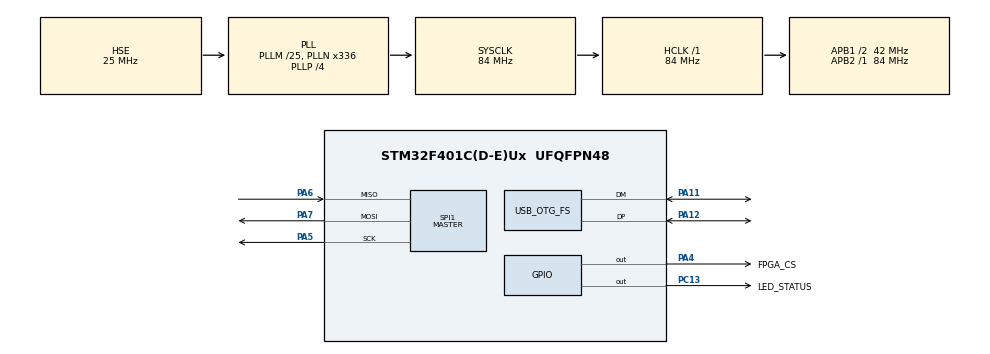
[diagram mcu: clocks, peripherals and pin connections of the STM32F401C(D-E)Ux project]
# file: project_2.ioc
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Dma.Request0=SPI1_RX
Dma.Request1=SPI1_TX
Dma.SPI1_RX.0.Direction=DMA_PERIPH_TO_MEMORY
Dma.SPI1_RX.0.FIFOMode=DMA_FIFOMODE_DISABLE
Dma.SPI1_RX.0.Instance=DMA2_Stream0
Dma.SPI1_RX.0.MemDataAlignment=DMA_MDATAALIGN_BYTE
Dma.SPI1_RX.0.MemInc=DMA_MINC_ENABLE
Dma.SPI1_RX.0.Mode=DMA_NORMAL
Dma.SPI1_RX.0.PeriphDataAlignment=DMA_PDATAALIGN_BYTE
Dma.SPI1_RX.0.PeriphInc=DMA_PINC_DISABLE
Dma.SPI1_RX.0.Priority=DMA_PRIORITY_LOW
Dma.SPI1_TX.1.Direction=DMA_MEMORY_TO_PERIPH
Dma.SPI1_TX.1.FIFOMode=DMA_FIFOMODE_DISABLE
Dma.SPI1_TX.1.Instance=DMA2_Stream3
Dma.SPI1_TX.1.MemDataAlignment=DMA_MDATAALIGN_BYTE
Dma.SPI1_TX.1.MemInc=DMA_MINC_ENABLE
Dma.SPI1_TX.1.Mode=DMA_NORMAL
Dma.SPI1_TX.1.PeriphDataAlignment=DMA_PDATAALIGN_BYTE
Dma.SPI1_TX.1.PeriphInc=DMA_PINC_DISABLE
Dma.SPI1_TX.1.Priority=DMA_PRIORITY_LOW
Mcu.Family=STM32F4
Mcu.Name=STM32F401C(D-E)Ux
Mcu.Package=UFQFPN48
NVIC.DMA2_Stream0_IRQn=true\:0\:0\:false\:false\:true\:false\:true\:true
NVIC.DMA2_Stream3_IRQn=true\:0\:0\:false\:false\:true\:false\:true\:true
NVIC.OTG_FS_IRQn=true\:0\:0\:false\:false\:true\:false\:true\:true
NVIC.PriorityGroup=NVIC_PRIORITYGROUP_4
NVIC.SPI1_IRQn=true\:0\:0\:false\:false\:true\:true\:true\:true
PA11.Mode=Device_Only
PA11.Signal=USB_OTG_FS_DM
PA12.Mode=Device_Only
PA12.Signal=USB_OTG_FS_DP
PA4.GPIO_Label=FPGA_CS  
PA4.Signal=GPIO_Output
PA5.Mode=Full_Duplex_Master
PA5.Signal=SPI1_SCK
PA6.Mode=Full_Duplex_Master
PA6.Signal=SPI1_MISO
PA7.Mode=Full_Duplex_Master
PA7.Signal=SPI1_MOSI
PC13-ANTI_TAMP.GPIO_Label=LED_STATUS
PC13-ANTI_TAMP.PinState=GPIO_PIN_SET
PC13-ANTI_TAMP.Signal=GPIO_Output
PH0\ -\ OSC_IN.Mode=HSE-External-Oscillator
PH0\ -\ OSC_IN.Signal=RCC_OSC_IN
PH1\ -\ OSC_OUT.Mode=HSE-External-Oscillator
PH1\ -\ OSC_OUT.Signal=RCC_OSC_OUT
ProjectManager.HeapSize=0x200
ProjectManager.StackSize=0x400
ProjectManager.TargetToolchain=STM32CubeIDE
RCC.48MHZClocksFreq_Value=48000000
RCC.AHBFreq_Value=84000000
RCC.APB1CLKDivider=RCC_HCLK_DIV2
RCC.APB1Freq_Value=42000000
RCC.APB1TimFreq_Value=84000000
RCC.APB2Freq_Value=84000000
RCC.APB2TimFreq_Value=84000000
RCC.CortexFreq_Value=84000000
RCC.HCLKFreq_Value=84000000
RCC.HSE_VALUE=25000000
RCC.HSI_VALUE=16000000
RCC.LSE_VALUE=32768
RCC.PLLM=25
RCC.PLLN=336
RCC.PLLP=RCC_PLLP_DIV4
RCC.PLLQ=7
RCC.SYSCLKFreq_VALUE=84000000
RCC.SYSCLKSource=RCC_SYSCLKSOURCE_PLLCLK
RCC.VCOOutputFreq_Value=336000000
SPI1.BaudRatePrescaler=SPI_BAUDRATEPRESCALER_256
SPI1.Direction=SPI_DIRECTION_2LINES
SPI1.Mode=SPI_MODE_MASTER
SPI1.VirtualType=VM_MASTER
USB_DEVICE.CLASS_NAME_FS=CDC
USB_DEVICE.VirtualMode-CDC_FS=Cdc
USB_DEVICE.VirtualModeFS=Cdc_FS
USB_OTG_FS.VirtualMode=Device_Only
VP_USB_DEVICE_VS_USB_DEVICE_CDC_FS.Mode=CDC_FS
board=custom

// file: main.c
#include "main.h"
#include "usb_device.h"

/* USER CODE BEGIN Includes */
#include "usbd_cdc_if.h"
#include <string.h>
#include <stdint.h>
#include <stdio.h>
#include <ctype.h>
#include <stdlib.h>

/* USER CODE END Includes */

SPI_HandleTypeDef hspi1;
DMA_HandleTypeDef hdma_spi1_rx;
DMA_HandleTypeDef hdma_spi1_tx;

/* USER CODE BEGIN PV */

#define FPGA_CMD_LOAD_KEY   0x01
#define FPGA_CMD_LOAD_IV    0x02
#define FPGA_CMD_SEND_PT    0x03
#define FPGA_CMD_READ_CT    0x04
#define FPGA_CMD_STATUS     0x05

#define FPGA_STATUS_CT_VALID   0x01
#define FPGA_STATUS_BUSY       0x02
#define FPGA_STATUS_KEY_READY  0x04

#define FPGA_CS_GPIO_Port GPIOA
#define FPGA_CS_Pin       GPIO_PIN_4

static volatile uint8_t usb_cmd_ready = 0;
static char usb_cmd_buffer[256];
static char usb_cmd_line[256];

static uint8_t g_key[16];
static uint8_t g_iv[16];
static uint8_t g_pt[16];
static uint8_t g_ct[16];

#define AES_BLOCK_SIZE          16U
#define USER_DATA_MIN_BYTES     16U
#define USER_DATA_MAX_BYTES     160U

/*****************************************************/

/* USER CODE END PV */

void SystemClock_Config(void);
static void MX_GPIO_Init(void);
static void MX_DMA_Init(void);
static void MX_SPI1_Init(void);
/* USER CODE BEGIN PFP */

/***************************************************************************/
void APP_UsbCommandReceived(char *data);
static void APP_ProcessCommand(char *cmd);
static void usb_send_text(const char *s);
static void usb_send_line(const char *s);
static int hexchar_to_val(char c);
static int hexstr_to_bytes_16(const char *hex, uint8_t out[16]);
static void bytes_to_hexstr(const uint8_t *in, uint32_t len, char *out);
/****************************************************************************/

static void FPGA_CS_Low(void)
{
    HAL_GPIO_WritePin(FPGA_CS_GPIO_Port, FPGA_CS_Pin, GPIO_PIN_RESET);
}

static void FPGA_CS_High(void)
{
    HAL_GPIO_WritePin(FPGA_CS_GPIO_Port, FPGA_CS_Pin, GPIO_PIN_SET);
}

static HAL_StatusTypeDef fpga_spi_tx(uint8_t *tx, uint16_t len)
{
    return HAL_SPI_Transmit(&hspi1, tx, len, HAL_MAX_DELAY);
}

static HAL_StatusTypeDef fpga_spi_txrx(uint8_t *tx, uint8_t *rx, uint16_t len)
{
    return HAL_SPI_TransmitReceive(&hspi1, tx, rx, len, HAL_MAX_DELAY);
}

static HAL_StatusTypeDef FPGA_LoadKey(const uint8_t key[16])
{
    uint8_t packet[17];
    packet[0] = FPGA_CMD_LOAD_KEY;
    memcpy(&packet[1], key, 16);

    FPGA_CS_Low();
    HAL_StatusTypeDef ret = fpga_spi_tx(packet, sizeof(packet));
    FPGA_CS_High();

    return ret;
}

static HAL_StatusTypeDef FPGA_LoadIV(const uint8_t iv[16])
{
    uint8_t packet[17];
    packet[0] = FPGA_CMD_LOAD_IV;
    memcpy(&packet[1], iv, 16);

    FPGA_CS_Low();
    HAL_StatusTypeDef ret = fpga_spi_tx(packet, sizeof(packet));
    FPGA_CS_High();

    return ret;
}

static HAL_StatusTypeDef FPGA_SendPlaintext(const uint8_t pt[16])
{
    uint8_t packet[17];
    packet[0] = FPGA_CMD_SEND_PT;
    memcpy(&packet[1], pt, 16);

    FPGA_CS_Low();
    HAL_StatusTypeDef ret = fpga_spi_tx(packet, sizeof(packet));
    FPGA_CS_High();

    return ret;
}

static HAL_StatusTypeDef FPGA_ReadStatus(uint8_t *status)
{
    uint8_t tx[2] = {FPGA_CMD_STATUS, 0x00};
    uint8_t rx[2] = {0};

    FPGA_CS_Low();
    HAL_StatusTypeDef ret = fpga_spi_txrx(tx, rx, sizeof(tx));
    FPGA_CS_High();

    if (ret == HAL_OK)
    {
        *status = rx[1];
    }

    return ret;
}

static HAL_StatusTypeDef FPGA_ReadCiphertext(uint8_t ct[16])
{
    uint8_t tx[17] = {0};
    uint8_t rx[17] = {0};

    tx[0] = FPGA_CMD_READ_CT;

    FPGA_CS_Low();
    HAL_StatusTypeDef ret = fpga_spi_txrx(tx, rx, sizeof(tx));
    FPGA_CS_High();

    if (ret == HAL_OK)
    {
        memcpy(ct, &rx[1], 16);
    }

    return ret;
}

HAL_StatusTypeDef FPGA_WaitKeyReady(uint32_t timeout_ms)
{
    uint32_t start = HAL_GetTick();
    uint8_t st = 0;
    char msg[32];

    while ((HAL_GetTick() - start) < timeout_ms)
    {
        if (FPGA_ReadStatus(&st) != HAL_OK)
        {
            usb_send_line("ERR STAT SPI");
            return HAL_ERROR;
        }

        sprintf(msg, "DBG ST %02X", st);
        usb_send_line(msg);

        if (st & 0x04)
            return HAL_OK;

        HAL_Delay(100);
    }

    return HAL_TIMEOUT;
}

static HAL_StatusTypeDef FPGA_WaitCiphertextReady(uint32_t timeout_ms)
{
    uint32_t start = HAL_GetTick();
    uint8_t status = 0;

    while ((HAL_GetTick() - start) < timeout_ms)
    {
        if (FPGA_ReadStatus(&status) != HAL_OK)
        {
            return HAL_ERROR;
        }

        if ((status & FPGA_STATUS_CT_VALID) && !(status & FPGA_STATUS_BUSY))
        {
            return HAL_OK;
        }
    }

    return HAL_TIMEOUT;
}

static HAL_StatusTypeDef FPGA_EncryptBlock(const uint8_t pt[16], uint8_t ct[16])
{
    if (FPGA_SendPlaintext(pt) != HAL_OK)
    {
        return HAL_ERROR;
    }

    if (FPGA_WaitCiphertextReady(100) != HAL_OK)
    {
        return HAL_TIMEOUT;
    }

    if (FPGA_ReadCiphertext(ct) != HAL_OK)
    {
        return HAL_ERROR;
    }

    return HAL_OK;
}

/****************************************************************************************************************************************/

/* USER CODE END PFP */

int main(void)
{

  /* MCU Configuration--------------------------------------------------------*/

  /* Reset of all peripherals, Initializes the Flash interface and the Systick. */
  HAL_Init();

  /* Configure the system clock */
  SystemClock_Config();

  /* Initialize all configured peripherals */
  MX_GPIO_Init();
  MX_DMA_Init();
  MX_SPI1_Init();
  MX_USB_DEVICE_Init();
  /* USER CODE BEGIN 2 */

  FPGA_CS_High();

  /* USER CODE END 2 */

  /* Infinite loop */
  /* USER CODE BEGIN WHILE */
  while (1)
  {
	      static uint32_t last_blink = 0;

	      if (usb_cmd_ready)
	      {
	          usb_cmd_ready = 0;
	          APP_ProcessCommand(usb_cmd_line);
	      }

	      if (HAL_GetTick() - last_blink >= 150)
	      {
	          last_blink = HAL_GetTick();
	          HAL_GPIO_TogglePin(GPIOC, GPIO_PIN_13);
	      }

    /* USER CODE END WHILE */

  }
}

void SystemClock_Config(void)
{
  RCC_OscInitTypeDef RCC_OscInitStruct = {0};
  RCC_ClkInitTypeDef RCC_ClkInitStruct = {0};

  /** Configure the main internal regulator output voltage
  */
  __HAL_RCC_PWR_CLK_ENABLE();
  __HAL_PWR_VOLTAGESCALING_CONFIG(PWR_REGULATOR_VOLTAGE_SCALE2);

  /** Initializes the RCC Oscillators according to the specified parameters
  * in the RCC_OscInitTypeDef structure.
  */
  RCC_OscInitStruct.OscillatorType = RCC_OSCILLATORTYPE_HSE;
  RCC_OscInitStruct.HSEState = RCC_HSE_ON;
  RCC_OscInitStruct.PLL.PLLState = RCC_PLL_ON;
  RCC_OscInitStruct.PLL.PLLSource = RCC_PLLSOURCE_HSE;
  RCC_OscInitStruct.PLL.PLLM = 25;
  RCC_OscInitStruct.PLL.PLLN = 336;
  RCC_OscInitStruct.PLL.PLLP = RCC_PLLP_DIV4;
  RCC_OscInitStruct.PLL.PLLQ = 7;
  if (HAL_RCC_OscConfig(&RCC_OscInitStruct) != HAL_OK)
  {
    Error_Handler();
  }

  /** Initializes the CPU, AHB and APB buses clocks
  */
  RCC_ClkInitStruct.ClockType = RCC_CLOCKTYPE_HCLK|RCC_CLOCKTYPE_SYSCLK
                              |RCC_CLOCKTYPE_PCLK1|RCC_CLOCKTYPE_PCLK2;
  RCC_ClkInitStruct.SYSCLKSource = RCC_SYSCLKSOURCE_PLLCLK;
  RCC_ClkInitStruct.AHBCLKDivider = RCC_SYSCLK_DIV1;
  RCC_ClkInitStruct.APB1CLKDivider = RCC_HCLK_DIV2;
  RCC_ClkInitStruct.APB2CLKDivider = RCC_HCLK_DIV1;

  if (HAL_RCC_ClockConfig(&RCC_ClkInitStruct, FLASH_LATENCY_2) != HAL_OK)
  {
    Error_Handler();
  }
}

static void MX_SPI1_Init(void)
{

  /* SPI1 parameter configuration*/
  hspi1.Instance = SPI1;
  hspi1.Init.Mode = SPI_MODE_MASTER;
  hspi1.Init.Direction = SPI_DIRECTION_2LINES;
  hspi1.Init.DataSize = SPI_DATASIZE_8BIT;
  hspi1.Init.CLKPolarity = SPI_POLARITY_LOW;
  hspi1.Init.CLKPhase = SPI_PHASE_1EDGE;
  hspi1.Init.NSS = SPI_NSS_SOFT;
  hspi1.Init.BaudRatePrescaler = SPI_BAUDRATEPRESCALER_256;
  hspi1.Init.FirstBit = SPI_FIRSTBIT_MSB;
  hspi1.Init.TIMode = SPI_TIMODE_DISABLE;
  hspi1.Init.CRCCalculation = SPI_CRCCALCULATION_DISABLE;
  hspi1.Init.CRCPolynomial = 10;
  if (HAL_SPI_Init(&hspi1) != HAL_OK)
  {
    Error_Handler();
  }

}

static void MX_DMA_Init(void)
{

  /* DMA controller clock enable */
  __HAL_RCC_DMA2_CLK_ENABLE();

  /* DMA interrupt init */
  /* DMA2_Stream0_IRQn interrupt configuration */
  HAL_NVIC_SetPriority(DMA2_Stream0_IRQn, 0, 0);
  HAL_NVIC_EnableIRQ(DMA2_Stream0_IRQn);
  /* DMA2_Stream3_IRQn interrupt configuration */
  HAL_NVIC_SetPriority(DMA2_Stream3_IRQn, 0, 0);
  HAL_NVIC_EnableIRQ(DMA2_Stream3_IRQn);

}

static void MX_GPIO_Init(void)
{
  GPIO_InitTypeDef GPIO_InitStruct = {0};

  /* GPIO Ports Clock Enable */
  __HAL_RCC_GPIOC_CLK_ENABLE();
  __HAL_RCC_GPIOH_CLK_ENABLE();
  __HAL_RCC_GPIOA_CLK_ENABLE();

  /*Configure GPIO pin Output Level */
  HAL_GPIO_WritePin(LED_STATUS_GPIO_Port, LED_STATUS_Pin, GPIO_PIN_SET);

  /*Configure GPIO pin Output Level */
  HAL_GPIO_WritePin(FPGA_CS_GPIO_Port, FPGA_CS_Pin, GPIO_PIN_SET);

  /*Configure GPIO pin : LED_STATUS_Pin */
  GPIO_InitStruct.Pin = LED_STATUS_Pin;
  GPIO_InitStruct.Mode = GPIO_MODE_OUTPUT_PP;
  GPIO_InitStruct.Pull = GPIO_NOPULL;
  GPIO_InitStruct.Speed = GPIO_SPEED_FREQ_LOW;
  HAL_GPIO_Init(LED_STATUS_GPIO_Port, &GPIO_InitStruct);

  /*Configure GPIO pin : FPGA_CS_Pin */
  GPIO_InitStruct.Pin = FPGA_CS_Pin;
  GPIO_InitStruct.Mode = GPIO_MODE_OUTPUT_PP;
  GPIO_InitStruct.Pull = GPIO_NOPULL;
  GPIO_InitStruct.Speed = GPIO_SPEED_FREQ_LOW;
  HAL_GPIO_Init(FPGA_CS_GPIO_Port, &GPIO_InitStruct);

}

/* USER CODE BEGIN 4 */

void APP_UsbCommandReceived(char *data)
{
    size_t len;

    strncpy(usb_cmd_line, data, sizeof(usb_cmd_line) - 1);
    usb_cmd_line[sizeof(usb_cmd_line) - 1] = '\0';

    len = strlen(usb_cmd_line);

    while (len > 0U &&
          (usb_cmd_line[len - 1U] == '\r' || usb_cmd_line[len - 1U] == '\n'))
    {
        usb_cmd_line[len - 1U] = '\0';
        len--;
    }

    usb_cmd_ready = 1;
}

static void usb_send_text(const char *s)
{
    while (CDC_Transmit_FS((uint8_t*)s, strlen(s)) == USBD_BUSY)
    {
        HAL_Delay(1);
    }
}

static void usb_send_line(const char *s)
{
    usb_send_text(s);
    usb_send_text("\r\n");
}

static int hexchar_to_val(char c)
{
    if (c >= '0' && c <= '9') return c - '0';
    if (c >= 'A' && c <= 'F') return c - 'A' + 10;
    if (c >= 'a' && c <= 'f') return c - 'a' + 10;

    return -1;
}

static int hexstr_to_bytes_16(const char *hex, uint8_t out[16])
{
    for (int i = 0; i < 16; i++)
    {
        int hi = hexchar_to_val(hex[i * 2]);
        int lo = hexchar_to_val(hex[i * 2 + 1]);

        if (hi < 0 || lo < 0)
        {
            return 0;
        }

        out[i] = (uint8_t)((hi << 4) | lo);
    }

    return 1;
}

static void bytes_to_hexstr(const uint8_t *in, uint32_t len, char *out)
{
    static const char hex[] = "0123456789ABCDEF";

    for (uint32_t i = 0; i < len; i++)
    {
        out[2 * i] = hex[(in[i] >> 4) & 0x0F];
        out[2 * i + 1] = hex[in[i] & 0x0F];
    }

    out[2 * len] = '\0';
}

static HAL_StatusTypeDef APP_EncryptUserData(const uint8_t *input,
                                             uint32_t input_len,
                                             uint8_t *output)
{
    uint8_t block[AES_BLOCK_SIZE];
    uint8_t ct[AES_BLOCK_SIZE];
    uint32_t offset = 0;

    if (input_len < USER_DATA_MIN_BYTES || input_len > USER_DATA_MAX_BYTES)
    {
        return HAL_ERROR;
    }

    while (offset < input_len)
    {
        uint32_t remaining = input_len - offset;
        uint32_t chunk_len = (remaining >= AES_BLOCK_SIZE) ? AES_BLOCK_SIZE : remaining;

        memset(block, 0, sizeof(block));
        memcpy(block, input + offset, chunk_len);

        if (FPGA_EncryptBlock(block, ct) != HAL_OK)
        {
            return HAL_ERROR;
        }

        memcpy(output + offset, ct, chunk_len);

        offset += chunk_len;
    }

    return HAL_OK;
}

static void APP_ProcessCommand(char *cmd)
{
    while (*cmd == ' ' || *cmd == '\t')
    {
        cmd++;
    }

    if (strcmp(cmd, "STAT") == 0)
    {
        uint8_t st = 0;
        char resp[16];

        if (FPGA_ReadStatus(&st) == HAL_OK)
        {
            snprintf(resp, sizeof(resp), "ST %02X", st);
            usb_send_line(resp);
        }
        else
        {
            usb_send_line("ERR");
        }

        return;
    }

    if (strncmp(cmd, "KEY ", 4) == 0)
    {
        if (strlen(cmd + 4) != 32U)
        {
            usb_send_line("ERR KEY LEN");
            return;
        }

        if (!hexstr_to_bytes_16(cmd + 4, g_key))
        {
            usb_send_line("ERR KEY HEX");
            return;
        }

        if (FPGA_LoadKey(g_key) != HAL_OK)
        {
            usb_send_line("ERR KEY LOAD");
            return;
        }

        if (FPGA_WaitKeyReady(1000) != HAL_OK)
        {
            usb_send_line("ERR KEY READY");
            return;
        }

        usb_send_line("OK");
        return;
    }

    if (strncmp(cmd, "IV ", 3) == 0)
    {
        if (strlen(cmd + 3) != 32U)
        {
            usb_send_line("ERR IV LEN");
            return;
        }

        if (!hexstr_to_bytes_16(cmd + 3, g_iv))
        {
            usb_send_line("ERR IV HEX");
            return;
        }

        if (FPGA_LoadIV(g_iv) != HAL_OK)
        {
            usb_send_line("ERR IV LOAD");
            return;
        }

        usb_send_line("OK");
        return;
    }

    if (strncmp(cmd, "ENC ", 4) == 0)
    {
        char hexout[33];
        char resp[40];

        if (strlen(cmd + 4) != 32U)
        {
            usb_send_line("ERR ENC LEN");
            return;
        }

        if (!hexstr_to_bytes_16(cmd + 4, g_pt))
        {
            usb_send_line("ERR ENC HEX");
            return;
        }

        if (FPGA_EncryptBlock(g_pt, g_ct) != HAL_OK)
        {
            usb_send_line("ERR ENC");
            return;
        }

        bytes_to_hexstr(g_ct, 16, hexout);
        snprintf(resp, sizeof(resp), "CT %s", hexout);
        usb_send_line(resp);
        return;
    }

    if (strncmp(cmd, "TEXT ", 5) == 0)
    {
        const uint8_t *user_data = (const uint8_t *)(cmd + 5);
        uint32_t user_len = (uint32_t)strlen(cmd + 5);

        uint8_t encrypted[USER_DATA_MAX_BYTES];
        char hexout[(USER_DATA_MAX_BYTES * 2U) + 1U];
        char resp[(USER_DATA_MAX_BYTES * 2U) + 4U];

        if (user_len < USER_DATA_MIN_BYTES)
        {
            usb_send_line("ERR TEXT MIN 16 BYTE");
            return;
        }

        if (user_len > USER_DATA_MAX_BYTES)
        {
            usb_send_line("ERR TEXT MAX 160 BYTE");
            return;
        }

        if (APP_EncryptUserData(user_data, user_len, encrypted) != HAL_OK)
        {
            usb_send_line("ERR TEXT ENC");
            return;
        }

        bytes_to_hexstr(encrypted, user_len, hexout);
        snprintf(resp, sizeof(resp), "CT %s", hexout);
        usb_send_line(resp);
        return;
    }

    usb_send_line("ERR");
}

/* USER CODE END 4 */

void Error_Handler(void)
{
  __disable_irq();
  while (1)
  {
  }
}
